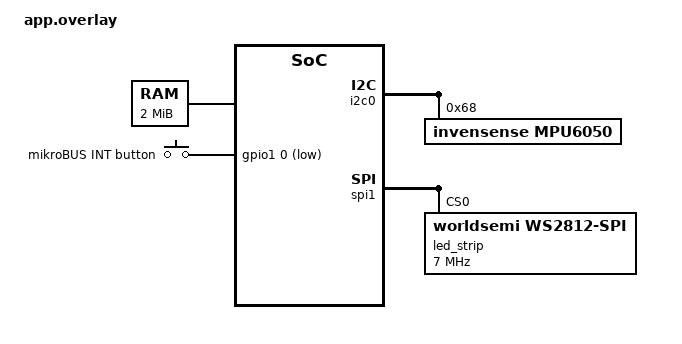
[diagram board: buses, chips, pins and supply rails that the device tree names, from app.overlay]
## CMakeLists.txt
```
cmake_minimum_required(VERSION 3.20.0)

# Tilt Maze reuses the VDMA/HDMI drivers and the out-of-tree devicetree
# bindings from Flappy Microchip rather than copying them.
set(FLAPPY "${CMAKE_CURRENT_SOURCE_DIR}/../flappy-microchip/source")

# The Flappy source root contains dts/bindings/ — tell Zephyr to search it.
list(APPEND DTS_ROOT "${FLAPPY}")

find_package(Zephyr REQUIRED HINTS $ENV{ZEPHYR_BASE})

project(tilt_maze)

set(DRIVERS "${FLAPPY}/drivers")
set(CHIPMUNK "${CMAKE_CURRENT_SOURCE_DIR}/../flappy-chipmunk2d/source/demos/pic64_smp_hello/chipmunk")
file(GLOB CHIPMUNK_SOURCES "${CHIPMUNK}/src/*.c")

target_sources(app PRIVATE
    src/main.c
    src/maze_map.c
    src/maze_physics.c
    src/maze_ui.c
    src/maze_game.c
    src/gy521.c
    src/button.c
    src/led_ring.c
    ${CHIPMUNK_SOURCES}
    ${DRIVERS}/vdma_disp/vdma_disp.c
    ${DRIVERS}/hdmi_fb/hdmi_fb.c
)

# hdmi_fb.c includes vdma_disp.h — expose both driver directories
target_include_directories(app PRIVATE
    src
    ${CHIPMUNK}/include
    ${DRIVERS}/vdma_disp
    ${DRIVERS}/hdmi_fb
)

target_link_libraries(app PRIVATE m)
```

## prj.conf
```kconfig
# Tilt Maze controlled by a GY-521 (MPU-6050) IMU over I2C
CONFIG_SMP=y
CONFIG_MP_MAX_NUM_CPUS=4
CONFIG_SCHED_CPU_MASK=y

CONFIG_SERIAL=y
CONFIG_CONSOLE=y
CONFIG_UART_CONSOLE=y
CONFIG_PRINTK=y

CONFIG_MAIN_STACK_SIZE=4096
CONFIG_FPU_SHARING=y
CONFIG_DYNAMIC_INTERRUPTS=y

CONFIG_GPIO=y

# GY-521 (MPU-6050) tilt input via Zephyr Sensor subsystem
CONFIG_I2C=y
CONFIG_SENSOR=y
CONFIG_MPU6050=y
CONFIG_MPU6050_TRIGGER_NONE=y

# WS2812 LED ring (SPI1, mikroBUS MOSI)
CONFIG_SPI=y
CONFIG_LED_STRIP=y

# ── Thread introspection ────────────────────────────────────────────────────
CONFIG_THREAD_MONITOR=y
CONFIG_THREAD_NAME=y
CONFIG_THREAD_STACK_INFO=y
CONFIG_INIT_STACKS=y

# ── Zephyr shell on UART ────────────────────────────────────────────────────
CONFIG_SHELL=y
CONFIG_SHELL_BACKEND_SERIAL=y
CONFIG_KERNEL_SHELL=y

# ── Display driver ──────────────────────────────────────────────────────────
CONFIG_DISPLAY=y

# ── LVGL ────────────────────────────────────────────────────────────────────
CONFIG_LVGL=y
CONFIG_LV_Z_AUTO_INIT=y
CONFIG_LV_Z_RUN_LVGL_ON_WORKQUEUE=n
CONFIG_LV_COLOR_DEPTH_16=y
CONFIG_LV_Z_VDB_SIZE=5
CONFIG_LV_Z_BUFFER_ALLOC_STATIC=y
# 192 KB heap — complex screens + chart series data
CONFIG_LV_Z_MEM_POOL_SIZE=196608

# ── Widgets ─────────────────────────────────────────────────────────────────
CONFIG_LV_USE_LABEL=y
CONFIG_LV_USE_BAR=y
CONFIG_LV_USE_TABLE=y
CONFIG_LV_USE_ARC=y
CONFIG_LV_USE_CHART=y
CONFIG_LV_USE_BUTTON=y
CONFIG_LV_USE_SLIDER=y
CONFIG_LV_USE_SWITCH=y
CONFIG_LV_USE_CHECKBOX=y
CONFIG_LV_USE_LED=y
CONFIG_LV_USE_ROLLER=y
CONFIG_LV_USE_SCALE=y
CONFIG_LV_USE_LINE=y
CONFIG_LV_USE_SPINBOX=y
CONFIG_LV_USE_DROPDOWN=y
CONFIG_LV_USE_FLEX=y
CONFIG_LV_USE_GRID=y

# ── Fonts ───────────────────────────────────────────────────────────────────
CONFIG_LV_FONT_MONTSERRAT_14=y
CONFIG_LV_FONT_MONTSERRAT_20=y
CONFIG_LV_FONT_MONTSERRAT_32=y
CONFIG_LV_FONT_MONTSERRAT_48=y

# YUYV422 requires even-x pixel-pair alignment for all dirty regions
CONFIG_LV_Z_AREA_X_ALIGNMENT_WIDTH=2
```

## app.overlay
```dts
/*
 * app.overlay — Tilt Maze with GY-521 (MPU-6050) motion control
 *
 * Hardware nodes (VDMA, DC, HDMI framebuffer) are in the shared overlay.
 * This file adds the Zephyr SRAM region and completes the chosen node.
 *
 * SMP atomics (AMO/LR-SC on SiFive U54) require the L2 cache, so Zephyr
 * must run from cached DDR at 0x80000000, not from LIM or scratchpad.
 */

#include <zephyr/dt-bindings/input/input-event-codes.h>
#include <zephyr/dt-bindings/led/led.h>
#include "../flappy-microchip/source/dts/overlays/pic64gx_display.overlay"

/ {
	cached_ram: memory@80000000 {
		compatible = "mmio-sram";
		reg = <0x80000000 0x200000>;   /* 2 MB cached DDR */
	};

	chosen {
		zephyr,sram = &cached_ram;
	};

	aliases {
		mikrobus-btn = &mikrobus_btn;
		led-strip = &led_strip;
	};

	/* mikroBUS INT push button (10k pull-up to 3P3V, other leg to GND) */
	mikrobus_keys {
		compatible = "gpio-keys";

		mikrobus_btn: mikrobus_btn {
			gpios = <&gpio1 0 GPIO_ACTIVE_LOW>;
			label = "mikroBUS INT button";
			zephyr,code = <INPUT_KEY_2>;
		};
	};
};

&i2c0 {
	status = "okay";
	mpu6050: mpu6050@68 {
		compatible = "invensense,mpu6050";
		reg = <0x68>;
		status = "okay";
		accel-fs = <2>;
		gyro-fs = <250>;
		smplrt-div = <4>;
	};
};

/*
 * WS2812 ring on the mikroBUS MOSI pin (DIN), driven by SPI1.
 *
 * The MSS SPI clock is 150 MHz / (2 * (idx + 1)). Asking for 7 MHz selects
 * idx = 11, i.e. 6.25 MHz, so one 8-bit SPI byte is one WS2812 bit (1.28 us):
 *   '1' = 0xF8 -> 800 ns high, 480 ns low
 *   '0' = 0xC0 -> 320 ns high, 960 ns low
 * Requests below ~4.7 MHz do not work: the driver falls back to divider 0.
 */
&spi1 {
	status = "okay";

	led_strip: ws2812@0 {
		compatible = "worldsemi,ws2812-spi";
		reg = <0>;
		spi-max-frequency = <7000000>;
		chain-length = <24>;   /* number of LEDs on the ring */
		color-mapping = <LED_COLOR_ID_GREEN
				 LED_COLOR_ID_RED
				 LED_COLOR_ID_BLUE>;
		spi-one-frame = <0xF8>;
		spi-zero-frame = <0xC0>;
	};
};
```

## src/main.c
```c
/* SPDX-License-Identifier: Apache-2.0
 *
 * Tilt Maze — 2D Marble Labyrinth for PIC64GX Curiosity Kit
 *
 * Controlled by a GY-521 (InvenSense MPU-6050) IMU over I2C.
 * Rendered using native LVGL v9 scene graph objects and Chipmunk2D physics.
 * UI, physics, game rules and sensor each run in their own thread on their
 * own core (see maze_cores.h).
 */

#include <zephyr/kernel.h>
#include <zephyr/drivers/display.h>
#include <zephyr/sys/printk.h>
#include <lvgl.h>

#include "maze_map.h"
#include "maze_physics.h"
#include "maze_ui.h"
#include "maze_game.h"
#include "gy521.h"
#include "button.h"
#include "led_ring.h"

/* Long press on the button: put the ball back at the start */
static void on_long_press(void)
{
	maze_physics_request_reset();
	led_ring_flash(LED_RING_FLASH_RESET);
}

int main(void)
{
	printk("[tilt_maze] Booting Tilt Maze...\n");

	const struct device *display = DEVICE_DT_GET(DT_CHOSEN(zephyr_display));
	if (!device_is_ready(display)) {
		printk("[tilt_maze] Error: Display device not ready!\n");
		return 0;
	}
	display_blanking_off(display);

	/* Build shared state single-threaded, then hand each module its own core */
	maze_map_init();
	maze_physics_init();
	maze_game_init();

	gy521_start();        /* core 3: sensor */
	maze_physics_start(); /* core 1: physics */
	maze_game_start();    /* core 2: game rules */
	maze_ui_start();      /* core 0: LVGL */
	led_ring_start();     /* core 2: LED ring */
	button_start(on_long_press); /* core 3: long press restarts the ball */

	printk("[tilt_maze] Initialization complete. UI/physics/game/sensor running on cores 0-3.\n");

	/* Everything runs in the pinned threads; main has nothing left to do. */
	return 0;
}
```

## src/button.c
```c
/* SPDX-License-Identifier: Apache-2.0 */
/*
 * mikroBUS INT push button for Tilt Maze (gpio1 pin 0, see app.overlay).
 *
 * A polling thread debounces the button and reports long presses only.
 */

#include "button.h"
#include "maze_cores.h"

#include <zephyr/kernel.h>
#include <zephyr/drivers/gpio.h>
#include <zephyr/sys/printk.h>

#define BUTTON_STACK     2048
#define BUTTON_PRIO      5
#define POLL_MS          10
#define DEBOUNCE_SAMPLES 3     /* equal reads in a row before a change counts */
#define BUTTON_LONG_PRESS_MS 1000

static const struct gpio_dt_spec btn = GPIO_DT_SPEC_GET(DT_ALIAS(mikrobus_btn), gpios);

static K_THREAD_STACK_DEFINE(button_stack, BUTTON_STACK);
static struct k_thread button_thread;

static void button_fn(void *p1, void *p2, void *p3)
{
	void (*on_long_press)(void) = p1;

	ARG_UNUSED(p2); ARG_UNUSED(p3);

	if (!gpio_is_ready_dt(&btn) || gpio_pin_configure_dt(&btn, GPIO_INPUT) != 0) {
		printk("[button] GPIO not ready\n");
		return;
	}

	int pressed = gpio_pin_get_dt(&btn);
	int differing = 0;
	int held_ms = 0;
	bool long_press = false;

	while (true) {
		int level = gpio_pin_get_dt(&btn);

		if (level == pressed) {
			differing = 0;
		} else if (++differing >= DEBOUNCE_SAMPLES) {
			pressed = level;
			differing = 0;
			held_ms = 0;
			long_press = false;
		}

		if (pressed && !long_press) {
			held_ms += POLL_MS;
			if (held_ms >= BUTTON_LONG_PRESS_MS) {
				long_press = true;
				printk("[button] Long press\n");
				if (on_long_press) {
					on_long_press();
				}
			}
		}
		k_msleep(POLL_MS);
	}
}

void button_start(void (*on_long_press)(void))
{
	k_tid_t tid = k_thread_create(&button_thread, button_stack,
				      K_THREAD_STACK_SIZEOF(button_stack), button_fn,
				      on_long_press, NULL, NULL, BUTTON_PRIO, 0, K_FOREVER);

	k_thread_name_set(tid, "button");
	k_thread_cpu_mask_clear(tid);
	k_thread_cpu_mask_enable(tid, MAZE_CORE_BUTTON);
	k_thread_start(tid);
}
```

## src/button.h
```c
/* SPDX-License-Identifier: Apache-2.0 */
#ifndef SRC_BUTTON_H
#define SRC_BUTTON_H

/**
 * Start the mikroBUS INT push-button thread (pinned to MAZE_CORE_BUTTON).
 *
 * The button is polled and debounced. Once it has been held for
 * BUTTON_LONG_PRESS_MS, @p on_long_press is called once (from the button
 * thread); shorter presses are ignored. The callback fires again only after
 * the button has been released and held again.
 */
void button_start(void (*on_long_press)(void));

#endif /* SRC_BUTTON_H */
```

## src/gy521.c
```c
/* SPDX-License-Identifier: Apache-2.0 */
/*
 * GY-521 (InvenSense MPU-6050) tilt input for Tilt Maze.
 *
 * Uses Zephyr's standard sensor subsystem (<zephyr/drivers/sensor.h>)
 * and the upstream MPU-6050 driver (CONFIG_MPU6050=y).
 *
 * A reader thread samples the accelerometer at 100 Hz and turns the gravity
 * vector on the X/Y axes into a smoothed tilt that the game polls once per
 * frame through gy521_get_tilt(). It runs pinned to its own core.
 */

#include "gy521.h"
#include "maze_cores.h"

#include <zephyr/kernel.h>
#include <zephyr/device.h>
#include <zephyr/drivers/sensor.h>
#include <zephyr/sys/atomic.h>
#include <zephyr/sys/printk.h>

/* ── Tuning ───────────────────────────────────────────────────────────────── */
#define TILT_INVERT_X   1
#define TILT_INVERT_Y   0
#define TILT_SWAP_XY    0

/* Weight of each new sample in the low-pass filter. Lower is smoother but laggier. */
#define TILT_FILTER_ALPHA  0.1f

#define SAMPLE_PERIOD_MS   10   /* 100 Hz */

/* Standard gravity in m/s^2 (Zephyr sensor subsystem reports m/s^2) */
#define GRAVITY_MSS        9.80665f

#define GY521_DEBUG_PRINT    0
#define DEBUG_PRINT_EVERY_N  10

/* ── State shared with the game ───────────────────────────────────────────── */

/* Tilt in micro-g, so that x and y can be shared as plain atomics. */
static atomic_t tilt_x_ug;
static atomic_t tilt_y_ug;
static atomic_t sensor_ready;

bool gy521_ready(void)
{
	return atomic_get(&sensor_ready) != 0;
}

void gy521_get_tilt(float *x, float *y)
{
	*x = (float)atomic_get(&tilt_x_ug) / 1e6f;
	*y = (float)atomic_get(&tilt_y_ug) / 1e6f;
}

/* ── Reader thread ────────────────────────────────────────────────────────── */

#define GY521_STACK 2048
#define GY521_PRIO  5
#define MAX_CONSECUTIVE_ERRORS 20

static K_THREAD_STACK_DEFINE(gy521_stack, GY521_STACK);
static struct k_thread gy521_thread;

static void gy521_fn(void *p1, void *p2, void *p3)
{
	ARG_UNUSED(p1); ARG_UNUSED(p2); ARG_UNUSED(p3);

	const struct device *const dev = DEVICE_DT_GET_ANY(invensense_mpu6050);

	if (!dev || !device_is_ready(dev)) {
		printk("[gy521] MPU-6050 sensor device not ready / not found\n");
		return;
	}

	atomic_set(&sensor_ready, 1);
	printk("[gy521] MPU-6050 ready via Zephyr sensor subsystem, streaming tilt\n");

	float fx = 0.0f, fy = 0.0f;
	int errors = 0;
	unsigned int n = 0;
	struct sensor_value accel[3];

	while (true) {
		int ret = sensor_sample_fetch_chan(dev, SENSOR_CHAN_ACCEL_XYZ);
		if (ret == 0) {
			ret = sensor_channel_get(dev, SENSOR_CHAN_ACCEL_XYZ, accel);
		}

		if (ret != 0) {
			if (++errors >= MAX_CONSECUTIVE_ERRORS) {
				printk("[gy521] too many sensor read errors (%d), stopping\n", ret);
				break;
			}
		} else {
			errors = 0;

			/* Convert m/s^2 to g */
			float ax = (float)sensor_value_to_double(&accel[0]) / GRAVITY_MSS;
			float ay = (float)sensor_value_to_double(&accel[1]) / GRAVITY_MSS;

			if (TILT_SWAP_XY) {
				float t = ax; ax = ay; ay = t;
			}
			if (TILT_INVERT_X) {
				ax = -ax;
			}
			if (TILT_INVERT_Y) {
				ay = -ay;
			}

			fx += TILT_FILTER_ALPHA * (ax - fx);
			fy += TILT_FILTER_ALPHA * (ay - fy);
			atomic_set(&tilt_x_ug, (atomic_val_t)(fx * 1e6f));
			atomic_set(&tilt_y_ug, (atomic_val_t)(fy * 1e6f));

			if (GY521_DEBUG_PRINT && ++n % DEBUG_PRINT_EVERY_N == 0) {
				printk("[gy521] tilt x=%d y=%d (mg)\n",
				       (int)(fx * 1000.0f), (int)(fy * 1000.0f));
			}
		}

		k_msleep(SAMPLE_PERIOD_MS);
	}

	/* Sensor lost: stop steering rather than freezing on the last tilt. */
	atomic_set(&sensor_ready, 0);
	atomic_set(&tilt_x_ug, 0);
	atomic_set(&tilt_y_ug, 0);
}

void gy521_start(void)
{
	maze_thread_spawn(&gy521_thread, gy521_stack,
			  K_THREAD_STACK_SIZEOF(gy521_stack),
			  gy521_fn, GY521_PRIO, MAZE_CORE_SENSOR, "gy521");
}
```

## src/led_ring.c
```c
/* SPDX-License-Identifier: Apache-2.0 */
/*
 * WS2812 (NeoPixel) LED ring for Tilt Maze.
 *
 * Uses Zephyr's WS2812-over-SPI led_strip driver on SPI1 (see app.overlay).
 * A thread owns the ring so that the slow polled SPI transfer never blocks
 * the game, physics or UI threads. Other threads only set an atomic state or
 * request a flash; the thread does the drawing.
 */

#include "led_ring.h"
#include "maze_cores.h"

#include <zephyr/kernel.h>
#include <zephyr/device.h>
#include <zephyr/drivers/led_strip.h>
#include <zephyr/sys/atomic.h>
#include <zephyr/sys/printk.h>

#define STRIP_NODE DT_ALIAS(led_strip)
#define NUM_LEDS   DT_PROP(STRIP_NODE, chain_length)

#define LED_STACK  2048
#define LED_PRIO   5
#define POLL_MS    20

/* Keep dim: each LED draws up to ~60 mA at full white */
#define BRIGHTNESS 32

#define START_BLINKS   3
#define START_BLINK_MS 250

#define LOSS_BLINKS    3
#define LOSS_BLINK_MS  120
#define RESET_BLINKS   2
#define RESET_BLINK_MS 100

static const struct device *const strip = DEVICE_DT_GET(STRIP_NODE);
static struct led_rgb pixels[NUM_LEDS];

static K_THREAD_STACK_DEFINE(led_stack, LED_STACK);
static struct k_thread led_thread;

static const struct led_rgb OFF    = { .r = 0, .g = 0, .b = 0 };
static const struct led_rgb BLUE   = { .r = 0, .g = 0, .b = BRIGHTNESS };
static const struct led_rgb GREEN  = { .r = 0, .g = BRIGHTNESS, .b = 0 };
static const struct led_rgb RED    = { .r = BRIGHTNESS, .g = 0, .b = 0 };
static const struct led_rgb YELLOW = { .r = BRIGHTNESS, .g = BRIGHTNESS * 3 / 4, .b = 0 };

#define NO_FLASH (-1)

static atomic_t state = LED_RING_READY;
static atomic_t flash_req = NO_FLASH;

void led_ring_set_state(led_ring_state_t s)
{
	atomic_set(&state, s);
}

void led_ring_flash(led_ring_flash_t kind)
{
	atomic_set(&flash_req, kind);
}

static void show_all(struct led_rgb color)
{
	for (int i = 0; i < NUM_LEDS; i++) {
		pixels[i] = color;
	}

	printk("[dbg] led send t=%u\n", k_uptime_get_32()); /* TEMP-DEBUG */
	int err = led_strip_update_rgb(strip, pixels, NUM_LEDS);
	printk("[dbg] led done err=%d t=%u\n", err, k_uptime_get_32()); /* TEMP-DEBUG */

	if (err) {
		printk("[led_ring] update failed: %d\n", err);
	}
}

static void blink_all(struct led_rgb color, int times, int period_ms)
{
	for (int i = 0; i < times; i++) {
		show_all(color);
		k_msleep(period_ms);
		show_all(OFF);
		k_msleep(period_ms);
	}
}

static struct led_rgb state_color(led_ring_state_t s)
{
	return s == LED_RING_PLAYING ? GREEN : YELLOW;
}

static void led_fn(void *p1, void *p2, void *p3)
{
	ARG_UNUSED(p1); ARG_UNUSED(p2); ARG_UNUSED(p3);

	if (!device_is_ready(strip)) {
		printk("[led_ring] LED strip not ready\n");
		return;
	}

	/* All LEDs blink together to show the game is starting */
	blink_all(BLUE, START_BLINKS, START_BLINK_MS);

	atomic_val_t shown = -1;

	while (true) {
		switch (atomic_set(&flash_req, NO_FLASH)) {
		case LED_RING_FLASH_LOSS:
			blink_all(RED, LOSS_BLINKS, LOSS_BLINK_MS);
			shown = -1; /* the ring is off now: redraw the steady colour */
			break;
		case LED_RING_FLASH_RESET:
			blink_all(YELLOW, RESET_BLINKS, RESET_BLINK_MS);
			shown = -1;
			break;
		default:
			break;
		}

		atomic_val_t now = atomic_get(&state);

		if (now != shown) {
			show_all(state_color(now));
			shown = now;
		}
		k_msleep(POLL_MS);
	}
}

void led_ring_start(void)
{
	maze_thread_spawn(&led_thread, led_stack, K_THREAD_STACK_SIZEOF(led_stack),
			  led_fn, LED_PRIO, MAZE_CORE_LED, "led_ring");
}
```

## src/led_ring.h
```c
/* SPDX-License-Identifier: Apache-2.0 */
#ifndef SRC_LED_RING_H
#define SRC_LED_RING_H

/** Steady colour shown between events. */
typedef enum {
	LED_RING_READY,   /* yellow: ball at the start, waiting to begin */
	LED_RING_PLAYING, /* green: ball is rolling */
} led_ring_state_t;

/** Brief blink shown on top of the steady colour, then it resumes. */
typedef enum {
	LED_RING_FLASH_LOSS,  /* red: ball fell in a pit */
	LED_RING_FLASH_RESET, /* yellow: game reset by the button */
} led_ring_flash_t;

/**
 * Start the WS2812 LED ring thread (pinned to MAZE_CORE_LED).
 *
 * On start the ring blinks all its LEDs to signal that the game is starting.
 * The ring is on the mikroBUS MOSI pin (SPI1); if it is not connected the
 * game is unaffected and the calls below do nothing.
 */
void led_ring_start(void);

/** Set the steady colour. Cheap; safe to call every frame from any thread. */
void led_ring_set_state(led_ring_state_t state);

/** Request a brief blink. Returns immediately; safe from any thread. */
void led_ring_flash(led_ring_flash_t kind);

#endif /* SRC_LED_RING_H */
```

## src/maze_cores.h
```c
/* SPDX-License-Identifier: Apache-2.0
 *
 * Tilt Maze — CPU core assignment & pinned-thread helper
 *
 * Each module runs in its own thread, pinned to its own U54 hart.
 * LVGL and Chipmunk2D are not thread-safe, so each is only ever touched by
 * the one thread that owns it; modules exchange data via small snapshots.
 */

#ifndef SRC_MAZE_CORES_H
#define SRC_MAZE_CORES_H

#include <zephyr/kernel.h>

#define MAZE_CORE_UI       0  /* LVGL scene graph + rendering */
#define MAZE_CORE_PHYSICS  1  /* Chipmunk2D simulation */
#define MAZE_CORE_GAME     2  /* pit / goal rules, banner state */
#define MAZE_CORE_SENSOR   3  /* GY-521 I2C polling */
#define MAZE_CORE_LED      2  /* WS2812 ring: polled SPI, shares the game core */
#define MAZE_CORE_BUTTON   3  /* mikroBUS button polling (light, shares the sensor core) */

/* Create a thread that is only allowed to run on @p core. The mask has to be
 * set while the thread is not runnable, hence K_FOREVER + k_thread_start().
 */
static inline void maze_thread_spawn(struct k_thread *thread,
				     k_thread_stack_t *stack, size_t stack_size,
				     k_thread_entry_t entry, int prio,
				     int core, const char *name)
{
	k_tid_t tid = k_thread_create(thread, stack, stack_size, entry,
				      NULL, NULL, NULL, prio, 0, K_FOREVER);

	k_thread_name_set(tid, name);
	k_thread_cpu_mask_clear(tid);
	k_thread_cpu_mask_enable(tid, core);
	k_thread_start(tid);
}

#endif /* SRC_MAZE_CORES_H */
```

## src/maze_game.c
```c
/* SPDX-License-Identifier: Apache-2.0
 *
 * Tilt Maze — Game Rules
 *
 * Watches the ball position published by the physics thread, applies the pit
 * and goal rules and tells the UI which banner to show. It never touches
 * LVGL or Chipmunk directly.
 */

#include "maze_game.h"
#include "maze_map.h"
#include "maze_physics.h"
#include "maze_cores.h"
#include "led_ring.h"

#include <zephyr/kernel.h>
#include <zephyr/sys/atomic.h>
#include <zephyr/sys/printk.h>
#include <math.h>

#define GAME_STACK         4096
#define GAME_PRIO          5
#define GAME_PERIOD_MS     16
#define BANNER_DURATION_MS 2000
/* Ball this close to the start counts as "ready to start" for the LED ring */
#define START_ZONE_RADIUS  25.0f

static K_THREAD_STACK_DEFINE(game_stack, GAME_STACK);
static struct k_thread game_thread;

static atomic_t banner = MAZE_BANNER_NONE;
static uint32_t banner_expire_ms;

static void show_banner(maze_banner_t b, uint32_t now)
{
	atomic_set(&banner, b);
	banner_expire_ms = now + BANNER_DURATION_MS;
}

static void game_step(uint32_t now)
{
	/* Handle banner expiration */
	if (banner_expire_ms && (int32_t)(now - banner_expire_ms) >= 0) {
		atomic_set(&banner, MAZE_BANNER_NONE);
		banner_expire_ms = 0;
	}

	/* The ball is still where it died until physics applies the reset. */
	if (maze_physics_reset_pending()) {
		return;
	}

	float ball_x, ball_y;

	maze_physics_get_ball_pos(&ball_x, &ball_y);

	float sx = ball_x - MAZE_START_X;
	float sy = ball_y - MAZE_START_Y;

	led_ring_set_state(sqrtf(sx * sx + sy * sy) < START_ZONE_RADIUS ?
			   LED_RING_READY : LED_RING_PLAYING);

	/* Check pit collisions */
	size_t n_pits = 0;
	const maze_hole_t *pits = maze_map_get_pits(&n_pits);

	for (size_t i = 0; i < n_pits; i++) {
		float dx = ball_x - pits[i].x;
		float dy = ball_y - pits[i].y;

		if (sqrtf(dx * dx + dy * dy) < pits[i].r) {
			printk("[maze] Ball fell in hole %d — restarting\n", (int)i);
			maze_physics_request_reset();
			led_ring_flash(LED_RING_FLASH_LOSS);
			show_banner(MAZE_BANNER_HOLE, now);
			return;
		}
	}

	/* Check goal condition */
	const maze_hole_t *goal = maze_map_get_goal();
	float gx = ball_x - goal->x;
	float gy = ball_y - goal->y;

	if (sqrtf(gx * gx + gy * gy) < goal->r) {
		printk("[maze] Goal reached!\n");
		maze_physics_request_reset();
		show_banner(MAZE_BANNER_GOAL, now);
	}
}

static void game_fn(void *p1, void *p2, void *p3)
{
	ARG_UNUSED(p1); ARG_UNUSED(p2); ARG_UNUSED(p3);

	int64_t next_ms = k_uptime_get();

	while (true) {
		game_step(k_uptime_get_32());

		next_ms += GAME_PERIOD_MS;
		k_sleep(K_TIMEOUT_ABS_MS(next_ms));
	}
}

void maze_game_init(void)
{
	atomic_set(&banner, MAZE_BANNER_NONE);
	banner_expire_ms = 0;
}

void maze_game_start(void)
{
	maze_thread_spawn(&game_thread, game_stack,
			  K_THREAD_STACK_SIZEOF(game_stack),
			  game_fn, GAME_PRIO, MAZE_CORE_GAME, "game");
}

maze_banner_t maze_game_get_banner(void)
{
	return (maze_banner_t)atomic_get(&banner);
}
```

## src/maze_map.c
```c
/* SPDX-License-Identifier: Apache-2.0
 *
 * Tilt Maze — Declarative Maze Layout & Geometries
 */

#include "maze_map.h"
#include <zephyr/sys/util.h>

static const maze_rect_t perimeter_walls[] = {
	{ MAZE_PLATFORM_X, MAZE_PLATFORM_Y, MAZE_PLATFORM_W, 20 },
	{ MAZE_PLATFORM_X, MAZE_PLATFORM_Y + MAZE_PLATFORM_H - 20, MAZE_PLATFORM_W, 20 },
	{ MAZE_PLATFORM_X, MAZE_PLATFORM_Y, 20, MAZE_PLATFORM_H },
	{ MAZE_PLATFORM_X + MAZE_PLATFORM_W - 20, MAZE_PLATFORM_Y, 20, MAZE_PLATFORM_H },
};

#define N_MAZE_WALLS 10
static maze_wall_path_t internal_walls[N_MAZE_WALLS];

static const maze_hole_t trap_pits[] = {
	{ 214, 91,  13 },
	{ 337, 125, 13 },
	{ 359, 215, 13 },
	{ 110, 253, 13 },
	{ 210, 302, 13 },
	{ 535, 264, 13 },
	{ 643, 273, 13 },
	{ 702, 348, 13 },
	{ 121, 440, 13 },
	{ 263, 367, 13 },
};

static const maze_hole_t exit_goal = { 685, 490, 16 };

static void path_add(maze_wall_path_t *p, float x, float y)
{
	if (p->n < MAZE_MAX_WALL_PTS) {
		p->pts[p->n].x = x;
		p->pts[p->n].y = y;
		p->n++;
	}
}

void maze_map_init(void)
{
	float hw = 10.0f;
	int i = 0;

	internal_walls[i].n = 0;
	internal_walls[i].half_w = hw;
	path_add(&internal_walls[i], 70, 162);
	path_add(&internal_walls[i], 640, 162);
	i++;

	internal_walls[i].n = 0;
	internal_walls[i].half_w = hw;
	path_add(&internal_walls[i], 730, 220);
	path_add(&internal_walls[i], 480, 220);
	path_add(&internal_walls[i], 480, 270);
	path_add(&internal_walls[i], 250, 270);
	path_add(&internal_walls[i], 250, 220);
	path_add(&internal_walls[i], 170, 220);
	i++;

	internal_walls[i].n = 0;
	internal_walls[i].half_w = hw;
	path_add(&internal_walls[i], 70, 346);
	path_add(&internal_walls[i], 640, 346);
	i++;

	internal_walls[i].n = 0;
	internal_walls[i].half_w = hw;
	path_add(&internal_walls[i], 190, 438);
	path_add(&internal_walls[i], 730, 438);
	i++;

	internal_walls[i].n = 0;
	internal_walls[i].half_w = hw;
	path_add(&internal_walls[i], 430, 132);
	path_add(&internal_walls[i], 430, 162);
	i++;

	internal_walls[i].n = 0;
	internal_walls[i].half_w = hw;
	path_add(&internal_walls[i], 300, 438);
	path_add(&internal_walls[i], 300, 478);
	i++;

	internal_walls[i].n = 0;
	internal_walls[i].half_w = hw;
	path_add(&internal_walls[i], 550, 438);
	path_add(&internal_walls[i], 550, 478);
	i++;

	internal_walls[i].n = 0;
	internal_walls[i].half_w = 9.0f;
	path_add(&internal_walls[i], 490, 70);
	path_add(&internal_walls[i], 490, 105);
	i++;

	internal_walls[i].n = 0;
	internal_walls[i].half_w = 9.0f;
	path_add(&internal_walls[i], 570, 152);
	path_add(&internal_walls[i], 570, 117);
	i++;

	internal_walls[i].n = 0;
	internal_walls[i].half_w = 9.0f;
	path_add(&internal_walls[i], 650, 70);
	path_add(&internal_walls[i], 650, 105);
	i++;
}

const maze_rect_t *maze_map_get_perimeter(size_t *count)
{
	if (count) {
		*count = ARRAY_SIZE(perimeter_walls);
	}
	return perimeter_walls;
}

const maze_wall_path_t *maze_map_get_walls(size_t *count)
{
	if (count) {
		*count = ARRAY_SIZE(internal_walls);
	}
	return internal_walls;
}

const maze_hole_t *maze_map_get_pits(size_t *count)
{
	if (count) {
		*count = ARRAY_SIZE(trap_pits);
	}
	return trap_pits;
}

const maze_hole_t *maze_map_get_goal(void)
{
	return &exit_goal;
}
```

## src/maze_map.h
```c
/* SPDX-License-Identifier: Apache-2.0
 *
 * Tilt Maze — Geometry & Map Definitions
 */

#ifndef SRC_MAZE_MAP_H
#define SRC_MAZE_MAP_H

#include <stddef.h>
#include <stdint.h>

#define MAZE_WIN_W         1280
#define MAZE_WIN_H          720
#define MAZE_GAME_W         800
#define MAZE_GAME_H         600
#define MAZE_OFFSET_X       ((MAZE_WIN_W - MAZE_GAME_W) / 2)
#define MAZE_OFFSET_Y       ((MAZE_WIN_H - MAZE_GAME_H) / 2)

#define MAZE_PLATFORM_X     50
#define MAZE_PLATFORM_Y     50
#define MAZE_PLATFORM_W    700
#define MAZE_PLATFORM_H    500

#define MAZE_BALL_RADIUS    14.0f
#define MAZE_START_X       100.0f
#define MAZE_START_Y       110.0f

#define MAZE_MAX_WALL_PTS   24

typedef struct {
	float x, y;
} maze_vec2_t;

typedef struct {
	float x, y, w, h;
} maze_rect_t;

typedef struct {
	float x, y, r;
} maze_hole_t;

typedef struct {
	maze_vec2_t pts[MAZE_MAX_WALL_PTS];
	int n;
	float half_w;
} maze_wall_path_t;

void maze_map_init(void);

const maze_rect_t *maze_map_get_perimeter(size_t *count);
const maze_wall_path_t *maze_map_get_walls(size_t *count);
const maze_hole_t *maze_map_get_pits(size_t *count);
const maze_hole_t *maze_map_get_goal(void);

#endif /* SRC_MAZE_MAP_H */
```

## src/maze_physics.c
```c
/* SPDX-License-Identifier: Apache-2.0
 *
 * Tilt Maze — Chipmunk2D Physics Simulation
 */

#include "maze_physics.h"
#include "maze_map.h"
#include "maze_cores.h"
#include "gy521.h"
#include <chipmunk/chipmunk.h>
#include <zephyr/kernel.h>
#include <zephyr/spinlock.h>
#include <zephyr/sys/atomic.h>
#include <zephyr/sys/util.h>

#define PHYSICS_STACK      8192
#define PHYSICS_PRIO       5
#define PHYSICS_PERIOD_MS  16

/* Chipmunk state — owned exclusively by the physics thread after start. */
static cpSpace *space;
static cpBody  *ball_body;
static cpShape *ball_shape;

/* Published ball position, read by the game and UI threads on other cores. */
static struct k_spinlock pos_lock;
static float pub_x = MAZE_START_X;
static float pub_y = MAZE_START_Y;

static atomic_t reset_req;

static K_THREAD_STACK_DEFINE(physics_stack, PHYSICS_STACK);
static struct k_thread physics_thread;

static void publish_ball_pos(void)
{
	cpVect pos = cpBodyGetPosition(ball_body);

	K_SPINLOCK(&pos_lock) {
		pub_x = (float)pos.x;
		pub_y = (float)pos.y;
	}
}

void maze_physics_init(void)
{
	space = cpSpaceNew();
	cpSpaceSetGravity(space, cpvzero);
	cpSpaceSetDamping(space, 0.94f);

	cpBody *static_body = cpSpaceGetStaticBody(space);

	/* 1. Perimeter Boundaries (inner edges: X: 70..730, Y: 70..530) */
	struct { cpVect a, b; } perim_segs[] = {
		{ cpv(70, 70),   cpv(730, 70) },  /* Top */
		{ cpv(70, 530),  cpv(730, 530) }, /* Bottom */
		{ cpv(70, 70),   cpv(70, 530) },  /* Left */
		{ cpv(730, 70),  cpv(730, 530) }, /* Right */
	};

	for (size_t i = 0; i < ARRAY_SIZE(perim_segs); i++) {
		cpShape *seg = cpSegmentShapeNew(static_body, perim_segs[i].a, perim_segs[i].b, 0.0f);
		cpShapeSetElasticity(seg, 0.5f);
		cpShapeSetFriction(seg, 0.4f);
		cpSpaceAddShape(space, seg);
	}

	/* 2. Interior Maze Wall Segments */
	size_t n_walls = 0;
	const maze_wall_path_t *walls = maze_map_get_walls(&n_walls);

	for (size_t i = 0; i < n_walls; i++) {
		for (int j = 0; j < walls[i].n - 1; j++) {
			cpVect p1 = cpv(walls[i].pts[j].x, walls[i].pts[j].y);
			cpVect p2 = cpv(walls[i].pts[j + 1].x, walls[i].pts[j + 1].y);
			cpShape *seg = cpSegmentShapeNew(static_body, p1, p2, walls[i].half_w);
			cpShapeSetElasticity(seg, 0.5f);
			cpShapeSetFriction(seg, 0.4f);
			cpSpaceAddShape(space, seg);
		}
	}

	/* 3. Marble Dynamic Body */
	cpFloat mass = 1.0f;
	cpFloat moment = cpMomentForCircle(mass, 0, MAZE_BALL_RADIUS, cpvzero);
	ball_body = cpSpaceAddBody(space, cpBodyNew(mass, moment));
	cpBodySetPosition(ball_body, cpv(MAZE_START_X, MAZE_START_Y));

	ball_shape = cpSpaceAddShape(space, cpCircleShapeNew(ball_body, MAZE_BALL_RADIUS, cpvzero));
	cpShapeSetElasticity(ball_shape, 0.55f);
	cpShapeSetFriction(ball_shape, 0.35f);
}

void maze_physics_request_reset(void)
{
	atomic_set(&reset_req, 1);
}

bool maze_physics_reset_pending(void)
{
	return atomic_get(&reset_req) != 0;
}

/* Physics thread only. */
static void reset_ball(void)
{
	cpBodySetPosition(ball_body, cpv(MAZE_START_X, MAZE_START_Y));
	cpBodySetVelocity(ball_body, cpvzero);
	cpBodySetAngularVelocity(ball_body, 0.0f);
	publish_ball_pos();
}

static void step_physics(float tilt_x, float tilt_y, float dt)
{
	const float accel_scale = 1600.0f;

	cpSpaceSetGravity(space, cpv(tilt_x * accel_scale, tilt_y * accel_scale));

	/* Substep Chipmunk2D physics simulation for maximum numerical stability */
	cpSpaceStep(space, dt / 2.0f);
	cpSpaceStep(space, dt / 2.0f);
}

static void physics_fn(void *p1, void *p2, void *p3)
{
	ARG_UNUSED(p1); ARG_UNUSED(p2); ARG_UNUSED(p3);

	int64_t next_ms = k_uptime_get();
	uint32_t last_ms = k_uptime_get_32();

	while (true) {
		uint32_t now = k_uptime_get_32();
		float dt = (now - last_ms) / 1000.0f;

		last_ms = now;
		if (dt > 0.05f) dt = 0.05f;
		if (dt <= 0.001f) dt = 0.001f;

		/* Reset is applied here so Chipmunk stays single-threaded. The flag
		 * is cleared only after the new position is published, so the game
		 * thread never sees the stale one.
		 */
		if (atomic_get(&reset_req)) {
			reset_ball();
			atomic_set(&reset_req, 0);
		}

		float tilt_x = 0.0f, tilt_y = 0.0f;

		gy521_get_tilt(&tilt_x, &tilt_y);
		step_physics(tilt_x, tilt_y, dt);
		publish_ball_pos();

		next_ms += PHYSICS_PERIOD_MS;
		k_sleep(K_TIMEOUT_ABS_MS(next_ms));
	}
}

void maze_physics_start(void)
{
	maze_thread_spawn(&physics_thread, physics_stack,
			  K_THREAD_STACK_SIZEOF(physics_stack),
			  physics_fn, PHYSICS_PRIO, MAZE_CORE_PHYSICS, "physics");
}

void maze_physics_get_ball_pos(float *x, float *y)
{
	K_SPINLOCK(&pos_lock) {
		if (x) *x = pub_x;
		if (y) *y = pub_y;
	}
}
```

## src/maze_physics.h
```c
/* SPDX-License-Identifier: Apache-2.0
 *
 * Tilt Maze — Chipmunk2D Physics Simulation (own thread, own core)
 */

#ifndef SRC_MAZE_PHYSICS_H
#define SRC_MAZE_PHYSICS_H

#include <stdbool.h>

/** Build the Chipmunk space. Call once, before maze_physics_start(). */
void maze_physics_init(void);

/** Start the physics thread (pinned to MAZE_CORE_PHYSICS). */
void maze_physics_start(void);

/** Latest ball position; safe to call from any thread. */
void maze_physics_get_ball_pos(float *x, float *y);

/** Ask the physics thread to put the ball back at the start. Any thread. */
void maze_physics_request_reset(void);

/** True from maze_physics_request_reset() until the reset has been applied. */
bool maze_physics_reset_pending(void);

#endif /* SRC_MAZE_PHYSICS_H */
```

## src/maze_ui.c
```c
/* SPDX-License-Identifier: Apache-2.0
 *
 * Tilt Maze — LVGL Presentation & Visual Widgets
 */

#include "maze_ui.h"
#include "maze_map.h"
#include "maze_physics.h"
#include "maze_game.h"
#include "maze_cores.h"
#include <zephyr/kernel.h>
#include <lvgl.h>

#define UI_STACK      16384
#define UI_PRIO       5
#define UI_PERIOD_MS  16

static K_THREAD_STACK_DEFINE(ui_stack, UI_STACK);
static struct k_thread ui_thread;

#define N_MAX_WALLS 16
static lv_point_precise_t maze_line_pts[N_MAX_WALLS][MAZE_MAX_WALL_PTS];

static lv_obj_t *platform_obj;
static lv_obj_t *ball_obj;
static lv_obj_t *banner_obj;

static void maze_ui_init(void)
{
	lv_obj_t *scr = lv_screen_active();
	if (!scr) {
		scr = lv_obj_create(NULL);
		lv_screen_load(scr);
	}

	lv_obj_set_style_bg_color(scr, lv_color_hex(0x0D1117), 0);
	lv_obj_set_style_bg_opa(scr, LV_OPA_COVER, 0);

	/* Platform Container */
	platform_obj = lv_obj_create(scr);
	lv_obj_set_pos(platform_obj, MAZE_OFFSET_X + MAZE_PLATFORM_X, MAZE_OFFSET_Y + MAZE_PLATFORM_Y);
	lv_obj_set_size(platform_obj, MAZE_PLATFORM_W, MAZE_PLATFORM_H);

	/* Native Vertical Gradient: 0x2196D8 (cyan-blue) to 0x5A2D96 (purple) */
	lv_obj_set_style_bg_color(platform_obj, lv_color_hex(0x2196D8), 0);
	lv_obj_set_style_bg_grad_color(platform_obj, lv_color_hex(0x5A2D96), 0);
	lv_obj_set_style_bg_grad_dir(platform_obj, LV_GRAD_DIR_VER, 0);
	lv_obj_set_style_border_color(platform_obj, lv_color_hex(0x1E2850), 0);
	lv_obj_set_style_border_width(platform_obj, 3, 0);
	lv_obj_set_style_radius(platform_obj, 6, 0);
	lv_obj_set_style_pad_all(platform_obj, 0, 0);
	lv_obj_set_scrollbar_mode(platform_obj, LV_SCROLLBAR_MODE_OFF);

	/* 1. Perimeter Walls */
	size_t n_perim = 0;
	const maze_rect_t *perim = maze_map_get_perimeter(&n_perim);
	for (size_t i = 0; i < n_perim; i++) {
		lv_obj_t *w = lv_obj_create(platform_obj);
		lv_obj_set_pos(w, (int32_t)(perim[i].x - MAZE_PLATFORM_X),
				  (int32_t)(perim[i].y - MAZE_PLATFORM_Y));
		lv_obj_set_size(w, (int32_t)perim[i].w, (int32_t)perim[i].h);
		lv_obj_set_style_bg_color(w, lv_color_hex(0x415FA5), 0);
		lv_obj_set_style_border_color(w, lv_color_hex(0x8CAFE1), 0);
		lv_obj_set_style_border_width(w, 2, 0);
		lv_obj_set_style_radius(w, 2, 0);
		lv_obj_set_style_pad_all(w, 0, 0);
		lv_obj_set_scrollbar_mode(w, LV_SCROLLBAR_MODE_OFF);
	}

	/* 2. Interior Maze Walls using native lv_line */
	size_t n_walls = 0;
	const maze_wall_path_t *walls = maze_map_get_walls(&n_walls);
	for (size_t i = 0; i < n_walls && i < N_MAX_WALLS; i++) {
		for (int j = 0; j < walls[i].n; j++) {
			maze_line_pts[i][j].x = (lv_value_precise_t)(walls[i].pts[j].x - MAZE_PLATFORM_X);
			maze_line_pts[i][j].y = (lv_value_precise_t)(walls[i].pts[j].y - MAZE_PLATFORM_Y);
		}

		/* Main Wall Line */
		lv_obj_t *line = lv_line_create(platform_obj);
		lv_line_set_points(line, maze_line_pts[i], walls[i].n);
		lv_obj_set_style_line_width(line, (int32_t)(walls[i].half_w * 2), 0);
		lv_obj_set_style_line_color(line, lv_color_hex(0x415FA5), 0);
		lv_obj_set_style_line_rounded(line, true, 0);

		/* 3D Highlight Bevel Line */
		lv_obj_t *hi = lv_line_create(platform_obj);
		lv_line_set_points(hi, maze_line_pts[i], walls[i].n);
		lv_obj_set_style_line_width(hi, (int32_t)((walls[i].half_w - 3.0f) * 2), 0);
		lv_obj_set_style_line_color(hi, lv_color_hex(0x8CAFE1), 0);
		lv_obj_set_style_line_rounded(hi, true, 0);
	}

	/* 3. Pits / Traps */
	size_t n_pits = 0;
	const maze_hole_t *pits = maze_map_get_pits(&n_pits);
	for (size_t i = 0; i < n_pits; i++) {
		lv_obj_t *pit = lv_obj_create(platform_obj);
		int32_t r_outer = (int32_t)pits[i].r + 3;
		lv_obj_set_pos(pit, (int32_t)(pits[i].x - r_outer - MAZE_PLATFORM_X),
				    (int32_t)(pits[i].y - r_outer - MAZE_PLATFORM_Y));
		lv_obj_set_size(pit, r_outer * 2, r_outer * 2);
		lv_obj_set_style_radius(pit, LV_RADIUS_CIRCLE, 0);
		lv_obj_set_style_bg_color(pit, lv_color_hex(0x0F0F12), 0);
		lv_obj_set_style_border_color(pit, lv_color_hex(0xC83C3C), 0);
		lv_obj_set_style_border_width(pit, 3, 0);
		lv_obj_set_style_pad_all(pit, 0, 0);
		lv_obj_set_scrollbar_mode(pit, LV_SCROLLBAR_MODE_OFF);
	}

	/* 4. Goal Area */
	const maze_hole_t *goal = maze_map_get_goal();
	lv_obj_t *goal_obj = lv_obj_create(platform_obj);
	int32_t g_outer = (int32_t)goal->r + 6;
	lv_obj_set_pos(goal_obj, (int32_t)(goal->x - g_outer - MAZE_PLATFORM_X),
				 (int32_t)(goal->y - g_outer - MAZE_PLATFORM_Y));
	lv_obj_set_size(goal_obj, g_outer * 2, g_outer * 2);
	lv_obj_set_style_radius(goal_obj, LV_RADIUS_CIRCLE, 0);
	lv_obj_set_style_bg_color(goal_obj, lv_color_hex(0x1B4B2E), 0);
	lv_obj_set_style_border_color(goal_obj, lv_color_hex(0x3CC864), 0);
	lv_obj_set_style_border_width(goal_obj, 3, 0);
	lv_obj_set_style_pad_all(goal_obj, 0, 0);
	lv_obj_set_scrollbar_mode(goal_obj, LV_SCROLLBAR_MODE_OFF);

	lv_obj_t *star_lbl = lv_label_create(goal_obj);
	lv_label_set_text(star_lbl, "GOAL");
	lv_obj_set_style_text_font(star_lbl, &lv_font_montserrat_14, 0);
	lv_obj_set_style_text_color(star_lbl, lv_color_hex(0x3CC864), 0);
	lv_obj_align(star_lbl, LV_ALIGN_CENTER, 0, 0);

	/* 5. Marble / Ball */
	ball_obj = lv_obj_create(platform_obj);
	lv_obj_set_size(ball_obj, (int32_t)(MAZE_BALL_RADIUS * 2), (int32_t)(MAZE_BALL_RADIUS * 2));
	lv_obj_set_style_radius(ball_obj, LV_RADIUS_CIRCLE, 0);
	lv_obj_set_style_bg_color(ball_obj, lv_color_hex(0xE72C1C), 0);
	lv_obj_set_style_border_color(ball_obj, lv_color_hex(0xFF7F7F), 0);
	lv_obj_set_style_border_width(ball_obj, 2, 0);
	lv_obj_set_style_pad_all(ball_obj, 0, 0);
	lv_obj_set_scrollbar_mode(ball_obj, LV_SCROLLBAR_MODE_OFF);

	/* 6. Banner Message */
	banner_obj = lv_label_create(scr);
	lv_obj_set_style_text_font(banner_obj, &lv_font_montserrat_32, 0);
	lv_obj_set_style_text_color(banner_obj, lv_color_hex(0xE6EDF3), 0);
	lv_obj_align(banner_obj, LV_ALIGN_TOP_MID, 0, 10);
	lv_obj_add_flag(banner_obj, LV_OBJ_FLAG_HIDDEN);
}

static void maze_ui_set_ball_pos(float x, float y)
{
	if (ball_obj) {
		lv_obj_set_pos(ball_obj,
			       (int32_t)(x - MAZE_BALL_RADIUS - MAZE_PLATFORM_X),
			       (int32_t)(y - MAZE_BALL_RADIUS - MAZE_PLATFORM_Y));
	}
}

static void maze_ui_show_banner(const char *msg)
{
	if (banner_obj && msg) {
		lv_label_set_text(banner_obj, msg);
		lv_obj_align(banner_obj, LV_ALIGN_TOP_MID, 0, 10);
		lv_obj_remove_flag(banner_obj, LV_OBJ_FLAG_HIDDEN);
	}
}

static void maze_ui_hide_banner(void)
{
	if (banner_obj) {
		lv_obj_add_flag(banner_obj, LV_OBJ_FLAG_HIDDEN);
	}
}

/* Pull the latest ball position and banner from the physics/game threads. */
static void maze_ui_sync_cb(lv_timer_t *timer)
{
	static maze_banner_t shown = MAZE_BANNER_NONE;

	ARG_UNUSED(timer);

	float x, y;

	maze_physics_get_ball_pos(&x, &y);
	maze_ui_set_ball_pos(x, y);

	maze_banner_t wanted = maze_game_get_banner();

	if (wanted != shown) {
		shown = wanted;
		switch (wanted) {
		case MAZE_BANNER_HOLE:
			maze_ui_show_banner("You fell in a hole! Restarting...");
			break;
		case MAZE_BANNER_GOAL:
			maze_ui_show_banner("You made it out! Restarting...");
			break;
		default:
			maze_ui_hide_banner();
			break;
		}
	}
}

/* The only thread that ever touches LVGL. */
static void ui_fn(void *p1, void *p2, void *p3)
{
	ARG_UNUSED(p1); ARG_UNUSED(p2); ARG_UNUSED(p3);

	maze_ui_init();
	lv_timer_create(maze_ui_sync_cb, UI_PERIOD_MS, NULL);

	while (true) {
		/* TEMP-DEBUG */
		static uint32_t dbg_last;
		uint32_t dbg_now = k_uptime_get_32();

		if (dbg_now - dbg_last >= 1000) {
			dbg_last = dbg_now;
			printk("[dbg] ui alive t=%u\n", dbg_now);
		}

		uint32_t sleep_ms = lv_timer_handler();

		if (sleep_ms > UI_PERIOD_MS) {
			sleep_ms = UI_PERIOD_MS;
		} else if (sleep_ms == 0) {
			sleep_ms = 1;
		}
		k_msleep(sleep_ms);
	}
}

void maze_ui_start(void)
{
	maze_thread_spawn(&ui_thread, ui_stack, K_THREAD_STACK_SIZEOF(ui_stack),
			  ui_fn, UI_PRIO, MAZE_CORE_UI, "ui");
}
```
